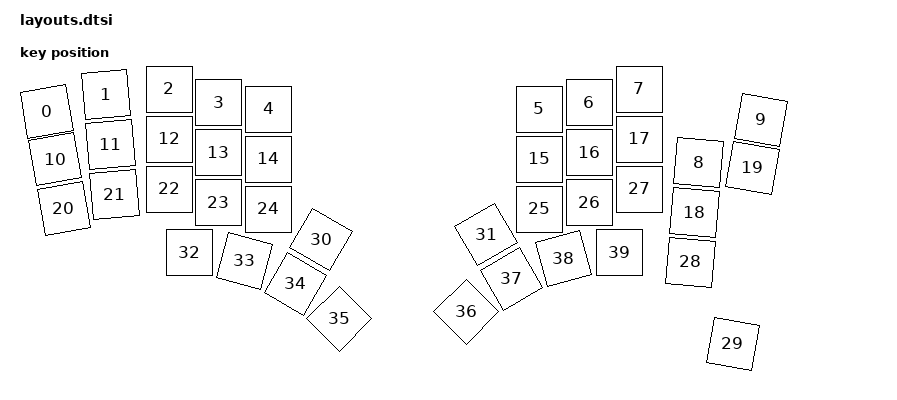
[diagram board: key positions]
#include <physical_layouts.dtsi>

/ {
    hsv_5col_layout: hsv_5col_layout {
        compatible = "zmk,physical-layout";
        display-name = "HillSideView";

        keys  //                     w   h    x    y     rot    rx    ry
            = <&key_physical_attrs 100 100    0   55 (-1000)     0    15>
            , <&key_physical_attrs 100 100  129   27  (-500)     0    15>
            , <&key_physical_attrs 100 100  260    0       0     0     0>
            , <&key_physical_attrs 100 100  359   27       0     0     0>
            , <&key_physical_attrs 100 100  459   40       0     0     0>
            , <&key_physical_attrs 100 100 1000   40       0     0     0>
            , <&key_physical_attrs 100 100 1100   27       0     0     0>
            , <&key_physical_attrs 100 100 1200    0       0     0     0>
            , <&key_physical_attrs 100 100 1330   27     500     0    15>
            , <&key_physical_attrs 100 100 1460   55    1000  1460    15>
            , <&key_physical_attrs 100 100    0  152 (-1000)     0    15>
            , <&key_physical_attrs 100 100  129  127  (-500)     0    15>
            , <&key_physical_attrs 100 100  260  100       0     0     0>
            , <&key_physical_attrs 100 100  359  127       0     0     0>
            , <&key_physical_attrs 100 100  459  140       0     0     0>
            , <&key_physical_attrs 100 100 1000  140       0     0     0>
            , <&key_physical_attrs 100 100 1100  127       0     0     0>
            , <&key_physical_attrs 100 100 1200  100       0     0     0>
            , <&key_physical_attrs 100 100 1330  127     500     0    15>
            , <&key_physical_attrs 100 100 1460  152    1000  1460    15>
            , <&key_physical_attrs 100 100    0  252 (-1000)     0    15>
            , <&key_physical_attrs 100 100  129  227  (-500)     0    15>
            , <&key_physical_attrs 100 100  260  200       0     0     0>
            , <&key_physical_attrs 100 100  359  227       0     0     0>
            , <&key_physical_attrs 100 100  459  240       0     0     0>
            , <&key_physical_attrs 100 100 1000  240       0     0     0>
            , <&key_physical_attrs 100 100 1100  227       0     0     0>
            , <&key_physical_attrs 100 100 1200  200       0     0     0>
            , <&key_physical_attrs 100 100 1330  227     500     0    15>
            , <&key_physical_attrs 100 100 1460  252    1000     0    15>
            , <&key_physical_attrs 100 100  300  225    3000   340   805>
            , <&key_physical_attrs 100 100 1160  225 (-3000)  1200   805>
            , <&key_physical_attrs 100 100  300  327       0     0     0>
            , <&key_physical_attrs 100 100  300  327    1500   340   805>
            , <&key_physical_attrs 100 100  300  327    3000   340   805>
            , <&key_physical_attrs 100 100  300  327    4500   340   805>
            , <&key_physical_attrs 100 100 1160  327 (-4500)  1200   805>
            , <&key_physical_attrs 100 100 1160  327 (-3000)  1200   805>
            , <&key_physical_attrs 100 100 1160  327 (-1500)  1200   805>
            , <&key_physical_attrs 100 100 1160  327       0     0     0>
            ;
    };
};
